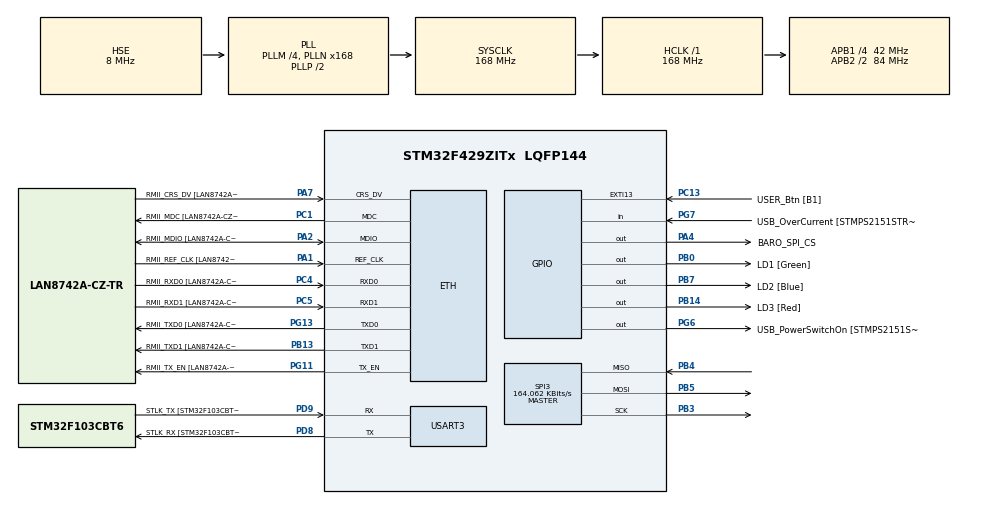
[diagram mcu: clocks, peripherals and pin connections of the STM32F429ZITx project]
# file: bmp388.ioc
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ETH.MediaInterface=HAL_ETH_RMII_MODE
ETH.PHY_Name=LAN8742A_PHY_ADDRESS
ETH.PHY_Value=0
ETH.PhyAddress=0
Mcu.Family=STM32F4
Mcu.Name=STM32F429ZITx
Mcu.Package=LQFP144
NVIC.PriorityGroup=NVIC_PRIORITYGROUP_4
PA1.GPIO_Label=RMII_REF_CLK [LAN8742A-CZ-TR_REFCLK0]
PA1.Mode=RMII
PA1.Signal=ETH_REF_CLK
PA13.GPIO_Label=TMS
PA13.Mode=Serial_Wire
PA13.Signal=SYS_JTMS-SWDIO
PA14.GPIO_Label=TCK
PA14.Mode=Serial_Wire
PA14.Signal=SYS_JTCK-SWCLK
PA2.GPIO_Label=RMII_MDIO [LAN8742A-CZ-TR_MDIO]
PA2.Mode=RMII
PA2.Signal=ETH_MDIO
PA4.GPIO_Label=BARO_SPI_CS
PA4.GPIO_PuPd=GPIO_PULLUP
PA4.PinState=GPIO_PIN_SET
PA4.Signal=GPIO_Output
PA7.GPIO_Label=RMII_CRS_DV [LAN8742A-CZ-TR_CRS_DV]
PA7.Mode=RMII
PA7.Signal=ETH_CRS_DV
PB0.GPIO_Label=LD1 [Green]
PB0.Signal=GPIO_Output
PB13.GPIO_Label=RMII_TXD1 [LAN8742A-CZ-TR_TXD1]
PB13.Mode=RMII
PB13.Signal=ETH_TXD1
PB14.GPIO_Label=LD3 [Red]
PB14.Signal=GPIO_Output
PB3.Mode=Full_Duplex_Master
PB3.Signal=SPI3_SCK
PB4.Mode=Full_Duplex_Master
PB4.Signal=SPI3_MISO
PB5.Mode=Full_Duplex_Master
PB5.Signal=SPI3_MOSI
PB7.GPIO_Label=LD2 [Blue]
PB7.Signal=GPIO_Output
PC1.GPIO_Label=RMII_MDC [LAN8742A-CZ-TR_MDC]
PC1.Mode=RMII
PC1.Signal=ETH_MDC
PC13.GPIO_Label=USER_Btn [B1]
PC13.Signal=GPXTI13
PC14/OSC32_IN.Mode=LSE-External-Oscillator
PC14/OSC32_IN.Signal=RCC_OSC32_IN
PC15/OSC32_OUT.Mode=LSE-External-Oscillator
PC15/OSC32_OUT.Signal=RCC_OSC32_OUT
PC4.GPIO_Label=RMII_RXD0 [LAN8742A-CZ-TR_RXD0]
PC4.Mode=RMII
PC4.Signal=ETH_RXD0
PC5.GPIO_Label=RMII_RXD1 [LAN8742A-CZ-TR_RXD1]
PC5.Mode=RMII
PC5.Signal=ETH_RXD1
PD8.GPIO_Label=STLK_RX [STM32F103CBT6_PA3]
PD8.Mode=Asynchronous
PD8.Signal=USART3_TX
PD9.GPIO_Label=STLK_TX [STM32F103CBT6_PA2]
PD9.Mode=Asynchronous
PD9.Signal=USART3_RX
PG11.GPIO_Label=RMII_TX_EN [LAN8742A-CZ-TR_TXEN]
PG11.Mode=RMII
PG11.Signal=ETH_TX_EN
PG13.GPIO_Label=RMII_TXD0 [LAN8742A-CZ-TR_TXD0]
PG13.Mode=RMII
PG13.Signal=ETH_TXD0
PG6.GPIO_Label=USB_PowerSwitchOn [STMPS2151STR_EN]
PG6.Signal=GPIO_Output
PG7.GPIO_Label=USB_OverCurrent [STMPS2151STR_FAULT]
PG7.Signal=GPIO_Input
PH0/OSC_IN.GPIO_Label=MCO [STM32F103CBT6_PA8]
PH0/OSC_IN.Mode=HSE-External-Clock-Source
PH0/OSC_IN.Signal=RCC_OSC_IN
PH1/OSC_OUT.Mode=HSE-External-Clock-Source
PH1/OSC_OUT.Signal=RCC_OSC_OUT
ProjectManager.HeapSize=0x200
ProjectManager.StackSize=0x400
ProjectManager.TargetToolchain=STM32CubeIDE
RCC.48MHZClocksFreq_Value=48000000
RCC.AHBFreq_Value=168000000
RCC.APB1CLKDivider=RCC_HCLK_DIV4
RCC.APB1Freq_Value=42000000
RCC.APB1TimFreq_Value=84000000
RCC.APB2CLKDivider=RCC_HCLK_DIV2
RCC.APB2Freq_Value=84000000
RCC.APB2TimCLKDivider=2
RCC.APB2TimFreq_Value=168000000
RCC.CortexFreq_Value=168000000
RCC.HCLKFreq_Value=168000000
RCC.HSE_VALUE=8000000
RCC.HSI_VALUE=16000000
RCC.PLLM=4
RCC.PLLMUL=RCC_PLL_MUL9
RCC.PLLN=168
RCC.PLLQ=7
RCC.PLLSourceVirtual=RCC_PLLSOURCE_HSE
RCC.PRESCALERUSB=RCC_USBCLKSOURCE_PLL_DIV1_5
RCC.SYSCLKFreq_VALUE=168000000
RCC.SYSCLKSource=RCC_SYSCLKSOURCE_PLLCLK
RCC.SYSCLKSourceVirtual=RCC_SYSCLKSOURCE_PLLCLK
RCC.USBFreq_Value=48000000
RCC.VCOOutputFreq_Value=336000000
SPI3.BaudRatePrescaler=SPI_BAUDRATEPRESCALER_256
SPI3.CalculateBaudRate=164.062 KBits/s
SPI3.Direction=SPI_DIRECTION_2LINES
SPI3.Mode=SPI_MODE_MASTER
SPI3.VirtualType=VM_MASTER
USART3.VirtualMode=VM_ASYNC
board=NUCLEO-F429ZI

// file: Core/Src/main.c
/* USER CODE BEGIN Header */
/**
  ******************************************************************************
  * @file           : main.c
  * @brief          : Main program body
  ******************************************************************************
  * @attention
  *
  * Copyright (c) 2024 STMicroelectronics.
  * All rights reserved.
  *
  * This software is licensed under terms that can be found in the LICENSE file
  * in the root directory of this software component.
  * If no LICENSE file comes with this software, it is provided AS-IS.
  *
  ******************************************************************************
  */
/* USER CODE END Header */
#include "main.h"
#include "string.h"
#include "stdio.h"

/* USER CODE BEGIN Includes */

#include "bmp390_task.h"

/* USER CODE END Includes */

ETH_TxPacketConfig TxConfig;
ETH_DMADescTypeDef  DMARxDscrTab[ETH_RX_DESC_CNT]; /* Ethernet Rx DMA Descriptors */
ETH_DMADescTypeDef  DMATxDscrTab[ETH_TX_DESC_CNT]; /* Ethernet Tx DMA Descriptors */

ETH_HandleTypeDef heth;

SPI_HandleTypeDef hspi3;

UART_HandleTypeDef huart3;

/* USER CODE BEGIN PV */

struct bmp3_data data = { 0 };
__IO uint8_t read_sensor_flag = 0;

double pressure = 0;
float elevation = 0;

/* USER CODE END PV */

void SystemClock_Config(void);
static void MX_GPIO_Init(void);
static void MX_ETH_Init(void);
static void MX_USART3_UART_Init(void);
static void MX_SPI3_Init(void);

/* USER CODE BEGIN 0 */

int _write(int file, char *ptr, int len) {
	HAL_UART_Transmit(&huart3, (uint8_t*) ptr, len, 0xffffff);
	return len;
}

/* USER CODE END 0 */

int main(void)
{

  /* MCU Configuration--------------------------------------------------------*/

  /* Reset of all peripherals, Initializes the Flash interface and the Systick. */
  HAL_Init();

  /* Configure the system clock */
  SystemClock_Config();

  /* Initialize all configured peripherals */
  MX_GPIO_Init();
  MX_ETH_Init();
  MX_USART3_UART_Init();
  MX_SPI3_Init();
  /* USER CODE BEGIN 2 */

	BMP390_Init();

	float elevation_0 = 1001;
	while (elevation_0 < 1 || elevation_0 > 1000) {
		struct bmp3_data bmp390_data = bmp390_getdata();
		elevation_0 = convert_Pa_to_meter(bmp390_data.pressure); // m
		printf("Elev_0: %.2f\r\n", elevation_0);
	}

  /* USER CODE END 2 */

  /* Infinite loop */
	/* USER CODE BEGIN WHILE */
	while (1) {
		//			struct bmp3_data bmp390_data = bmp390_getdata();
		//			bmp390_data = bmp390_data_check(bmp390_data);
		//			float elevation = convert_Pa_to_meter(bmp390_data.pressure) - elevation_0;
		//			float temperature = bmp390_data.temperature;
		//
		//			printf("%.3f %.3f %.3f | %.1f %.1f %.1f | %.4f %.2f %.2f | %d\n", convt_accel.x, convt_accel.y, convt_accel.z, convt_mag.x, convt_mag.y, convt_mag.z,
		//			bmp390_data.pressure, elevation, temperature, sensor_sampling_rate);

		struct bmp3_data bmp390_data = bmp390_getdata();
		int32_t pressure_mhPa = convert_Pa_to_mhPa(bmp390_data.pressure);
		float elevation = convert_mhPa_to_meter(pressure_mhPa); // - elevation_0;
		float temperature = bmp390_data.temperature;

		printf("| %ld %.2f %.2f |\r\n",
				pressure_mhPa, elevation, temperature);

		//		  printf("Data  T: %.2f, P: %.2f Pa, E: %.2fm\n", (data.temperature), (data.pressure), elevation);
		//		  printf("Data  P: %.2f Pa, E: %.2fm\n", (pressure), elevation);
		//		  printf("%.2f\n", elevation);
		printf("%.d\r\n", (int) (elevation * 100));
		HAL_Delay(1000);
		/* USER CODE END WHILE */

  }
}

void SystemClock_Config(void)
{
  RCC_OscInitTypeDef RCC_OscInitStruct = {0};
  RCC_ClkInitTypeDef RCC_ClkInitStruct = {0};

  /** Configure the main internal regulator output voltage
  */
  __HAL_RCC_PWR_CLK_ENABLE();
  __HAL_PWR_VOLTAGESCALING_CONFIG(PWR_REGULATOR_VOLTAGE_SCALE1);

  /** Initializes the RCC Oscillators according to the specified parameters
  * in the RCC_OscInitTypeDef structure.
  */
  RCC_OscInitStruct.OscillatorType = RCC_OSCILLATORTYPE_HSE;
  RCC_OscInitStruct.HSEState = RCC_HSE_BYPASS;
  RCC_OscInitStruct.PLL.PLLState = RCC_PLL_ON;
  RCC_OscInitStruct.PLL.PLLSource = RCC_PLLSOURCE_HSE;
  RCC_OscInitStruct.PLL.PLLM = 4;
  RCC_OscInitStruct.PLL.PLLN = 168;
  RCC_OscInitStruct.PLL.PLLP = RCC_PLLP_DIV2;
  RCC_OscInitStruct.PLL.PLLQ = 7;
  if (HAL_RCC_OscConfig(&RCC_OscInitStruct) != HAL_OK)
  {
    Error_Handler();
  }

  /** Initializes the CPU, AHB and APB buses clocks
  */
  RCC_ClkInitStruct.ClockType = RCC_CLOCKTYPE_HCLK|RCC_CLOCKTYPE_SYSCLK
                              |RCC_CLOCKTYPE_PCLK1|RCC_CLOCKTYPE_PCLK2;
  RCC_ClkInitStruct.SYSCLKSource = RCC_SYSCLKSOURCE_PLLCLK;
  RCC_ClkInitStruct.AHBCLKDivider = RCC_SYSCLK_DIV1;
  RCC_ClkInitStruct.APB1CLKDivider = RCC_HCLK_DIV4;
  RCC_ClkInitStruct.APB2CLKDivider = RCC_HCLK_DIV2;

  if (HAL_RCC_ClockConfig(&RCC_ClkInitStruct, FLASH_LATENCY_5) != HAL_OK)
  {
    Error_Handler();
  }
}

static void MX_ETH_Init(void)
{

   static uint8_t MACAddr[6];

  heth.Instance = ETH;
  MACAddr[0] = 0x00;
  MACAddr[1] = 0x80;
  MACAddr[2] = 0xE1;
  MACAddr[3] = 0x00;
  MACAddr[4] = 0x00;
  MACAddr[5] = 0x00;
  heth.Init.MACAddr = &MACAddr[0];
  heth.Init.MediaInterface = HAL_ETH_RMII_MODE;
  heth.Init.TxDesc = DMATxDscrTab;
  heth.Init.RxDesc = DMARxDscrTab;
  heth.Init.RxBuffLen = 1524;

  if (HAL_ETH_Init(&heth) != HAL_OK)
  {
    Error_Handler();
  }

  memset(&TxConfig, 0 , sizeof(ETH_TxPacketConfig));
  TxConfig.Attributes = ETH_TX_PACKETS_FEATURES_CSUM | ETH_TX_PACKETS_FEATURES_CRCPAD;
  TxConfig.ChecksumCtrl = ETH_CHECKSUM_IPHDR_PAYLOAD_INSERT_PHDR_CALC;
  TxConfig.CRCPadCtrl = ETH_CRC_PAD_INSERT;

}

static void MX_SPI3_Init(void)
{

  /* SPI3 parameter configuration*/
  hspi3.Instance = SPI3;
  hspi3.Init.Mode = SPI_MODE_MASTER;
  hspi3.Init.Direction = SPI_DIRECTION_2LINES;
  hspi3.Init.DataSize = SPI_DATASIZE_8BIT;
  hspi3.Init.CLKPolarity = SPI_POLARITY_LOW;
  hspi3.Init.CLKPhase = SPI_PHASE_1EDGE;
  hspi3.Init.NSS = SPI_NSS_SOFT;
  hspi3.Init.BaudRatePrescaler = SPI_BAUDRATEPRESCALER_256;
  hspi3.Init.FirstBit = SPI_FIRSTBIT_MSB;
  hspi3.Init.TIMode = SPI_TIMODE_DISABLE;
  hspi3.Init.CRCCalculation = SPI_CRCCALCULATION_DISABLE;
  hspi3.Init.CRCPolynomial = 10;
  if (HAL_SPI_Init(&hspi3) != HAL_OK)
  {
    Error_Handler();
  }

}

static void MX_USART3_UART_Init(void)
{

  huart3.Instance = USART3;
  huart3.Init.BaudRate = 115200;
  huart3.Init.WordLength = UART_WORDLENGTH_8B;
  huart3.Init.StopBits = UART_STOPBITS_1;
  huart3.Init.Parity = UART_PARITY_NONE;
  huart3.Init.Mode = UART_MODE_TX_RX;
  huart3.Init.HwFlowCtl = UART_HWCONTROL_NONE;
  huart3.Init.OverSampling = UART_OVERSAMPLING_16;
  if (HAL_UART_Init(&huart3) != HAL_OK)
  {
    Error_Handler();
  }

}

static void MX_GPIO_Init(void)
{
  GPIO_InitTypeDef GPIO_InitStruct = {0};

  /* GPIO Ports Clock Enable */
  __HAL_RCC_GPIOC_CLK_ENABLE();
  __HAL_RCC_GPIOH_CLK_ENABLE();
  __HAL_RCC_GPIOA_CLK_ENABLE();
  __HAL_RCC_GPIOB_CLK_ENABLE();
  __HAL_RCC_GPIOD_CLK_ENABLE();
  __HAL_RCC_GPIOG_CLK_ENABLE();

  /*Configure GPIO pin Output Level */
  HAL_GPIO_WritePin(BARO_SPI_CS_GPIO_Port, BARO_SPI_CS_Pin, GPIO_PIN_SET);

  /*Configure GPIO pin Output Level */
  HAL_GPIO_WritePin(GPIOB, LD1_Pin|LD3_Pin|LD2_Pin, GPIO_PIN_RESET);

  /*Configure GPIO pin Output Level */
  HAL_GPIO_WritePin(USB_PowerSwitchOn_GPIO_Port, USB_PowerSwitchOn_Pin, GPIO_PIN_RESET);

  /*Configure GPIO pin : USER_Btn_Pin */
  GPIO_InitStruct.Pin = USER_Btn_Pin;
  GPIO_InitStruct.Mode = GPIO_MODE_IT_RISING;
  GPIO_InitStruct.Pull = GPIO_NOPULL;
  HAL_GPIO_Init(USER_Btn_GPIO_Port, &GPIO_InitStruct);

  /*Configure GPIO pin : BARO_SPI_CS_Pin */
  GPIO_InitStruct.Pin = BARO_SPI_CS_Pin;
  GPIO_InitStruct.Mode = GPIO_MODE_OUTPUT_PP;
  GPIO_InitStruct.Pull = GPIO_PULLUP;
  GPIO_InitStruct.Speed = GPIO_SPEED_FREQ_LOW;
  HAL_GPIO_Init(BARO_SPI_CS_GPIO_Port, &GPIO_InitStruct);

  /*Configure GPIO pins : LD1_Pin LD3_Pin LD2_Pin */
  GPIO_InitStruct.Pin = LD1_Pin|LD3_Pin|LD2_Pin;
  GPIO_InitStruct.Mode = GPIO_MODE_OUTPUT_PP;
  GPIO_InitStruct.Pull = GPIO_NOPULL;
  GPIO_InitStruct.Speed = GPIO_SPEED_FREQ_LOW;
  HAL_GPIO_Init(GPIOB, &GPIO_InitStruct);

  /*Configure GPIO pin : USB_PowerSwitchOn_Pin */
  GPIO_InitStruct.Pin = USB_PowerSwitchOn_Pin;
  GPIO_InitStruct.Mode = GPIO_MODE_OUTPUT_PP;
  GPIO_InitStruct.Pull = GPIO_NOPULL;
  GPIO_InitStruct.Speed = GPIO_SPEED_FREQ_LOW;
  HAL_GPIO_Init(USB_PowerSwitchOn_GPIO_Port, &GPIO_InitStruct);

  /*Configure GPIO pin : USB_OverCurrent_Pin */
  GPIO_InitStruct.Pin = USB_OverCurrent_Pin;
  GPIO_InitStruct.Mode = GPIO_MODE_INPUT;
  GPIO_InitStruct.Pull = GPIO_NOPULL;
  HAL_GPIO_Init(USB_OverCurrent_GPIO_Port, &GPIO_InitStruct);

}

void Error_Handler(void)
{
  __disable_irq();
  while (1)
  {
  }
}
